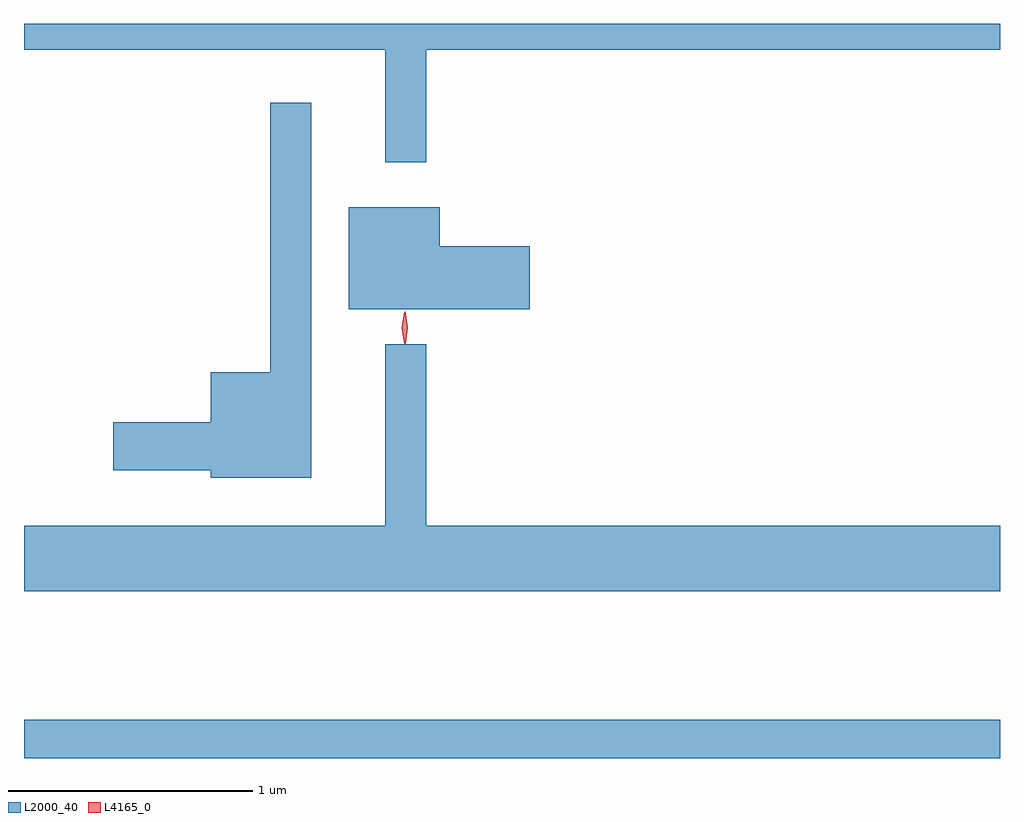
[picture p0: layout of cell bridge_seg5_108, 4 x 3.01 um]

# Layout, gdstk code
import gdstk
lib = gdstk.Library(unit=1e-6, precision=1e-09)
def R(c, l, rs):  # rectangles x0, y0, x1, y1
    for r in rs: c.add(gdstk.rectangle(r[:2], r[2:], *l))
def P(c, l, *ps):  # polygons
    for p in ps: c.add(gdstk.Polygon(p, *l))
L2000_40 = (2000, 40)
L4165_0 = (4165, 0)

bridge_seg5_108 = lib.new_cell('bridge_seg5_108')
R(bridge_seg5_108, L2000_40, [(1121.771,1527.151,1125.771,1527.309)])
P(bridge_seg5_108, L2000_40, [(1123.419,1530.056),(1125.771,1530.056),(1125.771,1530.162),(1121.771,1530.162),(1121.771,1530.056),(1123.251,1530.056),(1123.251,1529.593),(1123.419,1529.593)],
  [(1122.949,1529.838),(1122.781,1529.838),(1122.781,1528.734),(1122.536,1528.734),(1122.536,1528.529),(1122.136,1528.529),(1122.136,1528.331),(1122.536,1528.331),(1122.536,1528.301),(1122.949,1528.301)],
  [(1123.844,1529.249),(1123.474,1529.249),(1123.474,1529.409),(1123.101,1529.409),(1123.101,1528.991),(1123.844,1528.991)],
  [(1125.771,1528.104),(1123.419,1528.104),(1123.419,1528.848),(1123.251,1528.848),(1123.251,1528.104),(1121.771,1528.104),(1121.771,1527.836),(1125.771,1527.836)])
P(bridge_seg5_108, L4165_0, [(1123.334,1528.85),(1123.324,1528.918),(1123.333,1528.985),(1123.334,1528.986),(1123.334,1528.985),(1123.344,1528.918),(1123.335,1528.85),(1123.335,1528.85)],
  [(1123.33,1528.853),(1123.32,1528.916),(1123.329,1528.979),(1123.33,1528.98),(1123.33,1528.979),(1123.34,1528.916),(1123.331,1528.853),(1123.331,1528.853)])

lib.write_gds('bridge_seg5_108.gds')
